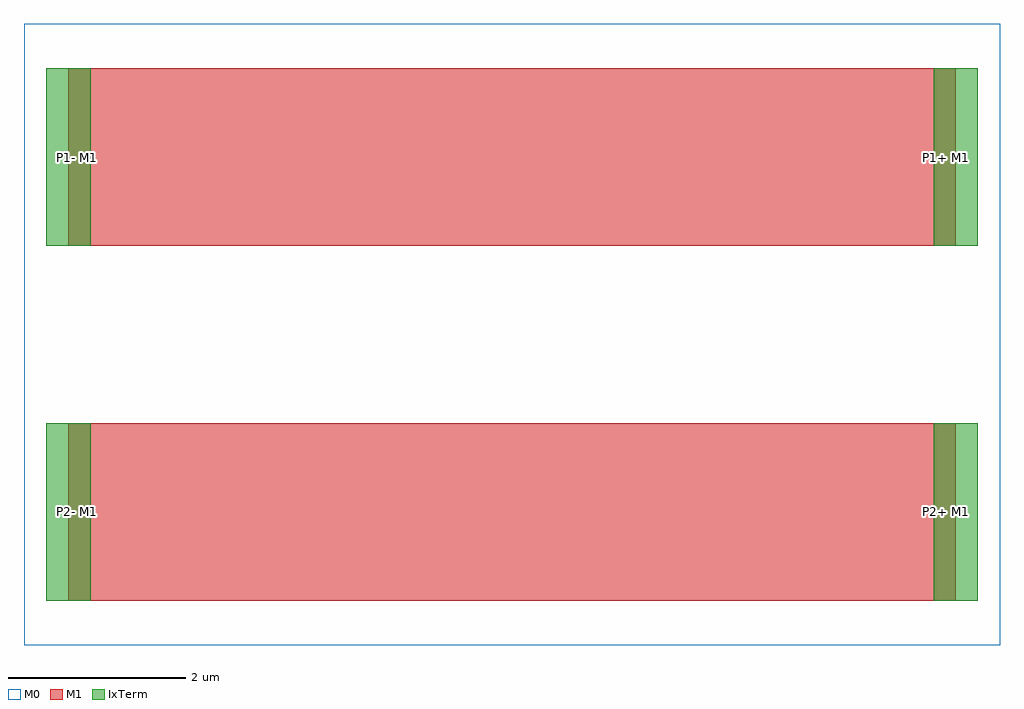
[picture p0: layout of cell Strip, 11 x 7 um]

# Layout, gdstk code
import gdstk
lib = gdstk.Library(unit=1e-6, precision=1e-09)
def R(c, l, rs):  # rectangles x0, y0, x1, y1
    for r in rs: c.add(gdstk.rectangle(r[:2], r[2:], *l))
M1 = (1, 0)
M0 = (30, 0)
IxTerm = (63, 0)

strip = lib.new_cell('Strip')
R(strip, M0, [(-5.5,-3.5,5.5,3.5)])
R(strip, IxTerm, [(-5.25,-3,-4.75,-1), (4.751,-3,5.251,-1), (-5.25,1,-4.75,3), (4.751,1,5.251,3)])
strip.add(gdstk.FlexPath([(-5,-2),(5,-2)], 2, ends="flush", simple_path=True, layer=1, datatype=0))  # M1
strip.add(gdstk.FlexPath([(-5,2),(5,2)], 2, ends="flush", simple_path=True, layer=1, datatype=0))  # M1
strip.add(gdstk.Label('P1+ M1', (4.9,2), layer=64, texttype=0))
strip.add(gdstk.Label('P1- M1', (-4.9,2), layer=64, texttype=0))
strip.add(gdstk.Label('P2+ M1', (4.9,-2), layer=64, texttype=0))
strip.add(gdstk.Label('P2- M1', (-4.9,-2), layer=64, texttype=0))

lib.write_gds('Strip.gds')
